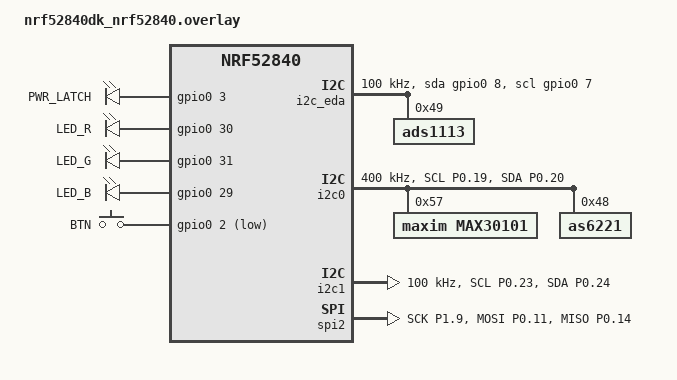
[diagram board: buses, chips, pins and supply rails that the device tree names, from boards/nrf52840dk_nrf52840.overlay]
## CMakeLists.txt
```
cmake_minimum_required(VERSION 3.20.0)

find_package(Zephyr REQUIRED HINTS $ENV{ZEPHYR_BASE})
project(smartwatch_all_sensors)

target_sources(app PRIVATE
  src/main.c
  src/as6221_task.c
  src/lsm6dso_task.c
  src/max30101_task.c
  src/ads1113_task.c
  src/w25n01_task.c
  src/ble_log_service.c
  src/log_backend_ble.c
  src/algo_v0.c         # <-- ADDED
)
```

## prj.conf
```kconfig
# Core
CONFIG_GPIO=y
CONFIG_I2C=y
CONFIG_I2C_GPIO=y
CONFIG_GPIO_NRFX=y
# Logging
CONFIG_LOG=y
CONFIG_LOG_DEFAULT_LEVEL=3
CONFIG_LOG_MODE_DEFERRED=y
CONFIG_LOG_PROCESS_THREAD=y
CONFIG_LOG_PROCESS_THREAD_STACK_SIZE=4096
CONFIG_LOG_BUFFER_SIZE=4096
CONFIG_LOG_OUTPUT=y

# No RTT / no UART console output
CONFIG_USE_SEGGER_RTT=n
CONFIG_LOG_BACKEND_RTT=n
CONFIG_RTT_CONSOLE=n
CONFIG_UART_CONSOLE=n
CONFIG_SERIAL=n
CONFIG_CONSOLE=n

# Float format for LOG_INF("%.2f")
CONFIG_CBPRINTF_COMPLETE=y
CONFIG_CBPRINTF_FP_SUPPORT=y

# BLE
CONFIG_BT=y
CONFIG_BT_PERIPHERAL=y
CONFIG_BT_DEVICE_NAME="SMARTWATCH"
CONFIG_BT_MAX_CONN=1
CONFIG_BT_SMP=n
CONFIG_BT_GATT_DYNAMIC_DB=y

# Reduce BT internal log spam
CONFIG_BT_LOG_LEVEL_ERR=y

# Buffers (safe values)
CONFIG_BT_L2CAP_TX_BUF_COUNT=10
CONFIG_BT_BUF_ACL_TX_COUNT=10
CONFIG_BT_BUF_ACL_RX_COUNT=10
CONFIG_BT_CONN_TX_MAX=10

# ---- ADD THESE (keep your existing as-is) ----
CONFIG_SPI=y
CONFIG_PRINTK=y
CONFIG_LOG_PRINTK=y
# Required because AS6221_ALERT is connected to P0.09 / NFC1 on this PCB
CONFIG_NFCT_PINS_AS_GPIOS=y

# ADC-based BTN detection for PCBv2 soft-latch ON/OFF
CONFIG_ADC=y
CONFIG_ADC_NRFX_SAADC=y

# Button reset gesture uses sys_reboot(SYS_REBOOT_COLD)
CONFIG_REBOOT=y
```

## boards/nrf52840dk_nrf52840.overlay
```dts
/ {
	/* Software I2C for ADS1113 EDA ADC
	 * Schematic wiring:
	 *   ADS1113/I2C1_SCL = P0.07
	 *   ADS1113/I2C1_SDA = P0.08
	 */
	i2c_eda: i2c_eda {
		compatible = "gpio-i2c";
		status = "okay";

		scl-gpios = <&gpio0 7 (GPIO_OPEN_DRAIN | GPIO_PULL_UP)>;
		sda-gpios = <&gpio0 8 (GPIO_OPEN_DRAIN | GPIO_PULL_UP)>;

		clock-frequency = <I2C_BITRATE_STANDARD>;
		#address-cells = <1>;
		#size-cells = <0>;

		ads1113: ads1113@49 {
			reg = <0x49>;
			status = "okay";
		};
	};


	/* Firmware-controlled soft-latch hold signal.
	 * Schematic: PWR = P0.03.
	 * Firmware drives this HIGH immediately after boot to keep Q2/Q1 enabled,
	 * so the board stays powered after the push button is released.
	 * The same signal is later driven LOW for firmware-controlled power-off.
	 */
	power_hold {
		compatible = "gpio-leds";

		pwr_latch: pwr_latch {
			gpios = <&gpio0 3 GPIO_ACTIVE_HIGH>;
			label = "PWR_LATCH";
		};
	};

	/* Indicator LEDs from schematic.
	 * These are not used by the current firmware logic, but are defined here
	 * for future DT-based access.
	 */
	leds {
		compatible = "gpio-leds";

		led_red: led_red {
			gpios = <&gpio0 30 GPIO_ACTIVE_HIGH>;
			label = "LED_R";
		};

		led_green: led_green {
			gpios = <&gpio0 31 GPIO_ACTIVE_HIGH>;
			label = "LED_G";
		};

		led_blue: led_blue {
			gpios = <&gpio0 29 GPIO_ACTIVE_HIGH>;
			label = "LED_B";
		};
	};

	/* ON/OFF push-button signal from schematic. Logic polarity may need
	 * verification on hardware because the button circuit has transistor/diode
	 * logic. The current firmware does not use this node directly.
	 */
	buttons {
		compatible = "gpio-keys";

		watch_button: watch_button {
			gpios = <&gpio0 2 GPIO_ACTIVE_LOW>;
			label = "BTN";
		};
	};

	aliases {
		led0 = &led_red;
		led1 = &led_green;
		led2 = &led_blue;
		sw0 = &watch_button;
		pwr-latch = &pwr_latch;
	};
};

/* UART disabled because firmware uses BLE logging, not UART console. */
&uart0 {
	status = "disabled";
};

/* Keep SPI1 disabled because I2C1 uses hardware instance 1. */
&spi1 {
	status = "disabled";
};

/* I2C0 bus for MAX30101 and AS6221
 * Schematic wiring:
 *   I2C0_SCL = P0.19
 *   I2C0_SDA = P0.20
 */
&i2c0 {
	status = "okay";
	clock-frequency = <I2C_BITRATE_FAST>;
	pinctrl-0 = <&i2c0_default>;
	pinctrl-1 = <&i2c0_sleep>;
	pinctrl-names = "default", "sleep";

	max30101: max30101@57 {
		compatible = "maxim,max30101";
		reg = <0x57>;
		label = "MAX30101";
		status = "okay";
	};

	as6221: as6221@48 {
		reg = <0x48>;
		label = "AS6221";
		status = "okay";
	};
};

/* I2C1 bus for LSM6DSO in I2C mode
 * Schematic wiring:
 *   LSM6DSO_SCL = P0.23
 *   LSM6DSO_SDI/SDA = P0.24
 * Other LSM pins are configured manually in lsm6dso_task.c:
 *   CS = P0.22, SA0/SDO = P0.13, INT1 = P0.28, INT2 = P0.05
 */
&i2c1 {
	status = "okay";
	clock-frequency = <I2C_BITRATE_STANDARD>;
	pinctrl-0 = <&i2c1_default>;
	pinctrl-1 = <&i2c1_sleep>;
	pinctrl-names = "default", "sleep";
};

/* SPI2 bus for W25N01GV NAND flash
 * Schematic wiring:
 *   SCK  = P1.09
 *   MOSI = P0.11
 *   MISO = P0.14
 * Manual GPIOs in w25n01_task.c:
 *   CS   = P0.17
 *   WP   = P0.12
 *   HOLD = P1.08
 */
&spi2 {
	status = "okay";
	pinctrl-0 = <&spi2_default>;
	pinctrl-1 = <&spi2_sleep>;
	pinctrl-names = "default", "sleep";
};

&pinctrl {
	i2c0_default: i2c0_default {
		group1 {
			psels = <
				NRF_PSEL(TWIM_SCL, 0, 19)
				NRF_PSEL(TWIM_SDA, 0, 20)
			>;
		};
	};

	i2c0_sleep: i2c0_sleep {
		group1 {
			psels = <
				NRF_PSEL(TWIM_SCL, 0, 19)
				NRF_PSEL(TWIM_SDA, 0, 20)
			>;
			low-power-enable;
		};
	};

	i2c1_default: i2c1_default {
		group1 {
			psels = <
				NRF_PSEL(TWIM_SCL, 0, 23)
				NRF_PSEL(TWIM_SDA, 0, 24)
			>;
		};
	};

	i2c1_sleep: i2c1_sleep {
		group1 {
			psels = <
				NRF_PSEL(TWIM_SCL, 0, 23)
				NRF_PSEL(TWIM_SDA, 0, 24)
			>;
			low-power-enable;
		};
	};

	spi2_default: spi2_default {
		group1 {
			psels = <
				NRF_PSEL(SPIM_SCK,  1, 9)
				NRF_PSEL(SPIM_MOSI, 0, 11)
				NRF_PSEL(SPIM_MISO, 0, 14)
			>;
		};
	};

	spi2_sleep: spi2_sleep {
		group1 {
			psels = <
				NRF_PSEL(SPIM_SCK,  1, 9)
				NRF_PSEL(SPIM_MOSI, 0, 11)
				NRF_PSEL(SPIM_MISO, 0, 14)
			>;
			low-power-enable;
		};
	};
};
```

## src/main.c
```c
#include <zephyr/kernel.h>
#include <zephyr/logging/log.h>
#include <zephyr/device.h>
#include <zephyr/devicetree.h>
#include <zephyr/drivers/gpio.h>
#include <zephyr/drivers/adc.h>
#include <hal/nrf_saadc.h>
#include <zephyr/sys/util.h>
#include <zephyr/sys/reboot.h>
#include <errno.h>
#include <string.h>
#include <stdbool.h>
#include <stdint.h>
#include <stdio.h>

#include "ble_log_service.h"
#include "as6221_task.h"
#include "lsm6dso_task.h"
#include "max30101_task.h"
#include "ads1113_task.h"
#include "w25n01_task.h"
#include "algo_v0.h"
#include "ppg_validation.h"

extern void w25n01_log_processed_line(const char *line);

LOG_MODULE_REGISTER(main_all, LOG_LEVEL_INF);

/* PCBv2 soft-latch power circuit
 *
 * Schematic mapping:
 *   BTN = P0.02 / AIN0 -> push-button sense line, read by SAADC voltage
 *   PWR = P0.03        -> firmware power-hold/latch output
 *
 * Verified with minimal ADC test FW:
 *   Button released: BTN ~= 0 mV
 *   Button pressed : BTN ~= 1.42-1.46 V battery / 2.2-2.3 V USB-C
 *
 * This main FW now uses ADC threshold/hysteresis instead of raw digital GPIO:
 *   pressed  = BTN voltage >= 800 mV
 *   released = BTN voltage <= 300 mV
 *
 * Behavior:
 *   Hold button 3 sec -> PWR latch stays HIGH -> full FW starts
 *   Hold button again 3 sec, then release -> PWR is forced LOW -> board should turn OFF
 *   Hold button 10 sec, release, then short-press once/twice -> MCU cold reset
 *
 * A BLE command "OFF"/"POWER_OFF"/"SHUTDOWN" is also supported for debugging.
 */
#define POWER_ON_HOLD_TIME_MS              3000
#define POWER_OFF_HOLD_TIME_MS             3000
#define POWER_RESET_HOLD_TIME_MS           10000
#define POWER_RESET_CLICK_WINDOW_MS         2500
#define POWER_RESET_INTER_CLICK_MS           800
#define POWER_RESET_CLICK_MAX_MS             800
#define POWER_RESET_CLICK_MIN_MS              50
#define POWER_SAMPLE_MS                    50
#define POWER_BOOT_SETTLE_MS               50
#define POWER_OFF_GRACE_MS                 250
#define POWER_OFF_WAIT_RELEASE_TIMEOUT_MS  3000

#define BTN_PRESS_THRESHOLD_MV             800
#define BTN_RELEASE_THRESHOLD_MV           300

#define ADC_RESOLUTION                     12
#define ADC_GAIN_USED                      ADC_GAIN_1_6
#define ADC_REFERENCE_USED                 ADC_REF_INTERNAL
#define ADC_REF_INTERNAL_MV                600
#define ADC_GAIN_DENOMINATOR               6
#define ADC_FULL_SCALE_MV                  (ADC_REF_INTERNAL_MV * ADC_GAIN_DENOMINATOR)
#define ADC_CHANNEL_ID                     0

#ifndef NRF_SAADC_INPUT_AIN0
#define NRF_SAADC_INPUT_AIN0 SAADC_CH_PSELP_PSELP_AnalogInput0
#endif

static const struct gpio_dt_spec pwr_latch = GPIO_DT_SPEC_GET(DT_NODELABEL(pwr_latch), gpios);
static const struct device *const adc_dev = DEVICE_DT_GET(DT_NODELABEL(adc));

static const struct adc_channel_cfg btn_adc_cfg = {
    .gain = ADC_GAIN_USED,
    .reference = ADC_REFERENCE_USED,
    .acquisition_time = ADC_ACQ_TIME_DEFAULT,
    .channel_id = ADC_CHANNEL_ID,
#if defined(CONFIG_ADC_CONFIGURABLE_INPUTS)
    .input_positive = NRF_SAADC_INPUT_AIN0,
#endif
};

static volatile bool g_shutdown_requested_by_ble;

struct button_reading {
    int mv;
    bool pressed;
};

static bool g_button_state_pressed;
static bool g_button_state_valid;

static void pwr_drive_high(void)
{
    if (gpio_is_ready_dt(&pwr_latch)) {
        (void)gpio_pin_configure_dt(&pwr_latch, GPIO_OUTPUT_ACTIVE);
        (void)gpio_pin_set_dt(&pwr_latch, 1);
    }
}

static void pwr_drive_low(void)
{
    if (gpio_is_ready_dt(&pwr_latch)) {
        (void)gpio_pin_configure_dt(&pwr_latch, GPIO_OUTPUT_INACTIVE);
        (void)gpio_pin_set_dt(&pwr_latch, 0);
    }
}

static void power_latch_force_low_forever(void)
{
    /* If battery-only hardware latch is correct, the board will switch off.
     * If USB-C/external power is present or Q1 is bypassed/shorted, stay here
     * with PWR forced LOW so the application does not continue running.
     */
    while (1) {
        pwr_drive_low();
        k_msleep(10);
    }
}

static void power_latch_off_forever(void)
{
    pwr_drive_low();
    power_latch_force_low_forever();
}

static void send_ble_line(const char *line)
{
    if (line) {
        (void)ble_log_send_as((const uint8_t *)line, strlen(line));
    }
}

static int btn_adc_init(void)
{
    if (!device_is_ready(adc_dev)) {
        LOG_ERR("ADC device is not ready");
        return -ENODEV;
    }

    return adc_channel_setup(adc_dev, &btn_adc_cfg);
}

static int btn_read_mv(void)
{
    int16_t sample = 0;
    struct adc_sequence seq = {
        .channels = BIT(ADC_CHANNEL_ID),
        .buffer = &sample,
        .buffer_size = sizeof(sample),
        .resolution = ADC_RESOLUTION,
    };

    int err = adc_read(adc_dev, &seq);
    if (err) {
        return err;
    }

    /* Manual conversion for nRF SAADC with internal 0.6 V reference and gain 1/6:
     * full scale input range = 0.6 V * 6 = 3.6 V.
     * 12-bit ADC raw range = 0..4095.
     */
    int32_t mv = ((int32_t)sample * ADC_FULL_SCALE_MV) / ((1 << ADC_RESOLUTION) - 1);

    if (mv < 0) {
        mv = 0;
    }

    return (int)mv;
}

static struct button_reading button_read_adc(void)
{
    struct button_reading b = {
        .mv = btn_read_mv(),
        .pressed = false,
    };

    if (b.mv < 0) {
        /* Keep previous state on a single ADC read error so one bad sample does
         * not randomly cancel a long press or trigger release.
         */
        b.pressed = g_button_state_pressed;
        return b;
    }

    if (!g_button_state_valid) {
        g_button_state_pressed = (b.mv >= BTN_PRESS_THRESHOLD_MV);
        g_button_state_valid = true;
    } else if (!g_button_state_pressed && b.mv >= BTN_PRESS_THRESHOLD_MV) {
        g_button_state_pressed = true;
    } else if (g_button_state_pressed && b.mv <= BTN_RELEASE_THRESHOLD_MV) {
        g_button_state_pressed = false;
    }

    b.pressed = g_button_state_pressed;
    return b;
}

static void wait_for_button_release_after_off(void)
{
    int waited_ms = 0;

    LOG_INF("OFF accepted: PWR is LOW. Waiting for physical button release.");
    send_ble_line("POWER:OFF:PWR_LOW_WAIT_RELEASE\r\n");

    while (1) {
        pwr_drive_low();

        struct button_reading b = button_read_adc();
        if (b.mv < 0) {
            LOG_WRN("BTN ADC read failed while waiting release (%d)", b.mv);
        } else if (!b.pressed) {
            LOG_INF("Button released after OFF request; keeping PWR LOW now.");
            send_ble_line("POWER:OFF:BUTTON_RELEASED_KEEPING_PWR_LOW\r\n");
            break;
        }

        if ((waited_ms % 1000) == 0) {
            char msg[112];
            LOG_INF("Waiting release after OFF: waited_ms=%d BTN=%dmV pressed=%d",
                    waited_ms, b.mv, b.pressed ? 1 : 0);
            snprintk(msg, sizeof(msg),
                     "POWER:OFF:WAIT_RELEASE:%dms BTN=%dmV\r\n",
                     waited_ms, b.mv);
            send_ble_line(msg);
        }

        /* Do not wait forever. If the user holds slightly longer or the battery
         * latch keeps BTN high, still force PWR LOW and stop the application.
         */
        if (waited_ms >= POWER_OFF_WAIT_RELEASE_TIMEOUT_MS) {
            char msg[128];
            LOG_WRN("Release wait timeout. Forcing PWR LOW forever. BTN=%dmV", b.mv);
            snprintk(msg, sizeof(msg),
                     "POWER:OFF:RELEASE_TIMEOUT_FORCE_LOW BTN=%dmV\r\n",
                     b.mv);
            send_ble_line(msg);
            break;
        }

        k_msleep(POWER_SAMPLE_MS);
        waited_ms += POWER_SAMPLE_MS;
    }

    k_msleep(100);
}

static void power_latch_shutdown_now(const char *reason)
{
    char msg[96];

    LOG_INF("Power-off requested: %s", reason ? reason : "unknown");

    if (reason && strcmp(reason, "BLE") == 0) {
        send_ble_line("POWER:OFF:BLE_COMMAND_ACCEPTED\r\n");
    } else {
        snprintk(msg, sizeof(msg), "POWER:OFF:ACCEPTED:%s\r\n",
                 reason ? reason : "BUTTON_ADC_3SEC");
        send_ble_line(msg);
    }

    /* Last optional memory-status snapshot before dropping the latch. */
#if !(PPG_VALIDATION_MODE && PPG_VAL_DISABLE_NAND)
    w25n01_log_mem_snapshot();
#endif
    k_msleep(POWER_OFF_GRACE_MS);

    /* Critical: drive PWR LOW before waiting for release. While the button is
     * still physically held, the button path may still keep Q2/Q1 alive. When
     * the user releases the button, PWR is already LOW, so the latch should open.
     */
    pwr_drive_low();
    wait_for_button_release_after_off();
    power_latch_force_low_forever();
}

static int power_latch_startup_check(void)
{
    if (!gpio_is_ready_dt(&pwr_latch)) {
        LOG_ERR("PWR latch GPIO device is not ready");
        return -ENODEV;
    }

    /* Configure ADC after immediately holding the latch alive. */
    pwr_drive_high();
    k_msleep(POWER_BOOT_SETTLE_MS);

    int err = btn_adc_init();
    if (err) {
        LOG_ERR("Failed to initialize BTN ADC (%d)", err);
        return err;
    }

    LOG_INF("Power latch HIGH. Require BTN >= %dmV for %d ms to start.",
            BTN_PRESS_THRESHOLD_MV, POWER_ON_HOLD_TIME_MS);

    int elapsed_ms = 0;
    while (elapsed_ms < POWER_ON_HOLD_TIME_MS) {
        pwr_drive_high();

        struct button_reading b = button_read_adc();
        if (b.mv < 0) {
            LOG_ERR("Failed to read BTN ADC during startup (%d)", b.mv);
            return b.mv;
        }

        if (!b.pressed) {
            LOG_WRN("Startup button released early. elapsed_ms=%d BTN=%dmV. Powering off.",
                    elapsed_ms, b.mv);
            power_latch_off_forever();
        }

        k_msleep(POWER_SAMPLE_MS);
        elapsed_ms += POWER_SAMPLE_MS;
    }

    pwr_drive_high();
    LOG_INF("3-sec ON accepted. PWR latch remains HIGH. Starting full firmware.");
    return 0;
}

static char ascii_upper_char(char c)
{
    if (c >= 'a' && c <= 'z') {
        return (char)(c - 'a' + 'A');
    }
    return c;
}

static bool cmd_equals_ci(const char *a, const char *b)
{
    if (!a || !b) {
        return false;
    }

    while (*a && *b) {
        if (ascii_upper_char(*a) != ascii_upper_char(*b)) {
            return false;
        }
        a++;
        b++;
    }

    return (*a == '\0' && *b == '\0');
}

static void app_ble_command_cb(const char *cmd)
{
    if (!cmd) {
        return;
    }

    if (cmd_equals_ci(cmd, "OFF") ||
        cmd_equals_ci(cmd, "POWER_OFF") ||
        cmd_equals_ci(cmd, "SHUTDOWN")) {
        g_shutdown_requested_by_ble = true;
        send_ble_line("CMD:OFF:ACCEPTED\r\n");
        return;
    }

    if (cmd_equals_ci(cmd, "PING") || cmd_equals_ci(cmd, "STATUS")) {
        struct button_reading b = button_read_adc();
        char msg[128];
        snprintk(msg, sizeof(msg),
                 "POWER:STATUS BTN=%dmV STATE=%s TH_PRESS=%dmV TH_RELEASE=%dmV\r\n",
                 b.mv, b.pressed ? "PRESSED" : "RELEASED",
                 BTN_PRESS_THRESHOLD_MV, BTN_RELEASE_THRESHOLD_MV);
        send_ble_line(msg);
        return;
    }

    /* Keep existing MAX30101 GUI commands working. */
    max30101_handle_ble_command(cmd);
}


static void reboot_device_now(const char *reason)
{
    char msg[96];

    snprintk(msg, sizeof(msg), "POWER:RESET:REBOOT_NOW:%s\r\n",
             reason ? reason : "BUTTON_10SEC_CLICK");
    send_ble_line(msg);
    LOG_WRN("Rebooting device now: %s", reason ? reason : "BUTTON_10SEC_CLICK");

    k_msleep(300);
    sys_reboot(SYS_REBOOT_COLD);
}

static bool wait_for_reset_confirmation_after_long_hold(void)
{
    int waited_ms = 0;
    int clicks = 0;
    int first_click_wait_ms = 0;
    bool prev_pressed = true;
    bool click_press_active = false;
    int click_press_ms = 0;

    send_ble_line("POWER:RESET:LONG_HOLD_10SEC_DETECTED_RELEASE_BUTTON\r\n");
    LOG_WRN("10-sec reset hold detected. Waiting for release, then one/two short clicks.");

    /* First wait until the long hold is released. */
    while (1) {
        pwr_drive_high();

        struct button_reading b = button_read_adc();
        if (b.mv >= 0 && !b.pressed) {
            send_ble_line("POWER:RESET:LONG_HOLD_RELEASED_WAIT_CLICK\r\n");
            break;
        }

        if ((waited_ms % 1000) == 0) {
            char msg[96];
            snprintk(msg, sizeof(msg),
                     "POWER:RESET:WAIT_RELEASE:%dms BTN=%dmV\r\n",
                     waited_ms, b.mv);
            send_ble_line(msg);
        }

        k_msleep(POWER_SAMPLE_MS);
        waited_ms += POWER_SAMPLE_MS;
    }

    waited_ms = 0;
    prev_pressed = false;

    /* Now wait for one or two short confirmation presses. One valid click is
     * enough; a second click within POWER_RESET_INTER_CLICK_MS is also accepted.
     */
    while (waited_ms <= POWER_RESET_CLICK_WINDOW_MS) {
        pwr_drive_high();

        struct button_reading b = button_read_adc();
        if (b.mv < 0) {
            k_msleep(POWER_SAMPLE_MS);
            waited_ms += POWER_SAMPLE_MS;
            continue;
        }

        if (b.pressed && !prev_pressed) {
            click_press_active = true;
            click_press_ms = 0;
            send_ble_line("POWER:RESET:CONFIRM_PRESS_STARTED\r\n");
        }

        if (b.pressed && click_press_active) {
            click_press_ms += POWER_SAMPLE_MS;
            if (click_press_ms > POWER_RESET_CLICK_MAX_MS) {
                send_ble_line("POWER:RESET:CANCELLED_CONFIRM_PRESS_TOO_LONG\r\n");
                return false;
            }
        }

        if (!b.pressed && prev_pressed && click_press_active) {
            if (click_press_ms >= POWER_RESET_CLICK_MIN_MS &&
                click_press_ms <= POWER_RESET_CLICK_MAX_MS) {
                clicks++;
                char msg[96];
                snprintk(msg, sizeof(msg),
                         "POWER:RESET:CONFIRM_CLICK_%d\r\n", clicks);
                send_ble_line(msg);

                if (clicks >= 2) {
                    reboot_device_now("BUTTON_10SEC_DOUBLE_CLICK");
                }

                first_click_wait_ms = 0;
            }

            click_press_active = false;
            click_press_ms = 0;
        }

        if (clicks == 1) {
            first_click_wait_ms += POWER_SAMPLE_MS;
            if (first_click_wait_ms >= POWER_RESET_INTER_CLICK_MS) {
                reboot_device_now("BUTTON_10SEC_SINGLE_CLICK");
            }
        }

        prev_pressed = b.pressed;
        k_msleep(POWER_SAMPLE_MS);
        waited_ms += POWER_SAMPLE_MS;
    }

    send_ble_line("POWER:RESET:CANCELLED_NO_CONFIRM_CLICK\r\n");
    LOG_INF("10-sec reset gesture cancelled: no confirmation click.");
    return false;
}

static void power_latch_runtime_monitor_loop(void)
{
    bool off_armed = false;
    int held_ms = 0;
    int last_reported_sec = -1;
    int status_ms = 0;

    LOG_INF("Runtime ADC button monitor started. Waiting for release to arm OFF long press.");
    send_ble_line("POWER:INFO MAIN_FW_ADC_BTN_PRESS_800mV_RELEASE_300mV\r\n");

    while (1) {
        pwr_drive_high();

        if (g_shutdown_requested_by_ble) {
            g_shutdown_requested_by_ble = false;
            power_latch_shutdown_now("BLE");
        }

        struct button_reading b = button_read_adc();
        if (b.mv < 0) {
            LOG_WRN("Failed to read BTN ADC in runtime monitor (%d)", b.mv);
            k_msleep(POWER_SAMPLE_MS);
            continue;
        }

        if (status_ms >= 1000) {
#if !(PPG_VALIDATION_MODE && PPG_VAL_DISABLE_DEBUG_LOGS)
            char msg[128];
            snprintk(msg, sizeof(msg),
                     "POWER:STATUS BTN=%dmV STATE=%s OFF_ARMED=%d HOLD=%dms\r\n",
                     b.mv, b.pressed ? "PRESSED" : "RELEASED",
                     off_armed ? 1 : 0, held_ms);
            send_ble_line(msg);
#endif
            status_ms = 0;
        }

        /* After boot, require one release before accepting an OFF long press. */
        if (!off_armed) {
            if (!b.pressed) {
                off_armed = true;
                held_ms = 0;
                last_reported_sec = -1;
                LOG_INF("Startup button released. OFF long press is now armed.");
                send_ble_line("POWER:OFF_ARMED\r\n");
            }
            k_msleep(POWER_SAMPLE_MS);
            status_ms += POWER_SAMPLE_MS;
            continue;
        }

        if (b.pressed) {
            held_ms += POWER_SAMPLE_MS;
            int sec = held_ms / 1000;

            if (held_ms == POWER_SAMPLE_MS) {
                LOG_INF("Button hold started. Release after 3 sec for OFF, or hold 10 sec for RESET gesture.");
                send_ble_line("POWER:BUTTON_HOLD_STARTED\r\n");
            }

            if (sec != last_reported_sec && sec > 0) {
                char msg[112];
                last_reported_sec = sec;
                snprintk(msg, sizeof(msg),
                         "POWER:BUTTON_HOLD:%dms BTN=%dmV\r\n",
                         held_ms, b.mv);
                send_ble_line(msg);

                if (held_ms >= POWER_OFF_HOLD_TIME_MS &&
                    held_ms < POWER_RESET_HOLD_TIME_MS) {
                    send_ble_line("POWER:OFF_READY_RELEASE_TO_POWER_OFF_OR_KEEP_HOLDING_FOR_RESET\r\n");
                }
            }

            if (held_ms >= POWER_RESET_HOLD_TIME_MS) {
                bool reset_started = wait_for_reset_confirmation_after_long_hold();
                ARG_UNUSED(reset_started);
                held_ms = 0;
                last_reported_sec = -1;
                status_ms = 1000;
            }
        } else {
            if (held_ms >= POWER_OFF_HOLD_TIME_MS && held_ms < POWER_RESET_HOLD_TIME_MS) {
                power_latch_shutdown_now("BUTTON_ADC_3SEC_RELEASE");
            } else if (held_ms > 0) {
                LOG_INF("Button hold cancelled at %d ms.", held_ms);
                send_ble_line("POWER:BUTTON_HOLD_CANCELLED\r\n");
            }
            held_ms = 0;
            last_reported_sec = -1;
        }

        k_msleep(POWER_SAMPLE_MS);
        status_ms += POWER_SAMPLE_MS;
    }
}

int main(void)
{
    int err = power_latch_startup_check();
    if (err) {
        LOG_ERR("power_latch_startup_check failed (%d). Powering off.", err);
        power_latch_off_forever();
    }

    err = ble_log_service_init();
    if (err) {
        LOG_ERR("ble_log_service_init failed (%d)", err);
    }

    ble_log_service_set_command_callback(app_ble_command_cb);

    k_msleep(500);

#if PPG_VALIDATION_MODE
    /* Focused PPG validation path: keep BLE, MAX30101 green PPG, IMU, and algo.
     * Skip NAND/EDA/TEMP task startup to keep the BLE stream clean and reduce
     * extra load while validating the PPG waveform and peak detection.
     */
    lsm6dso_task_start();
    max30101_task_start();

    LOG_INF("PPG validation mode: MAX30101 GREEN + LSM6DSO IMU + Algo V0 only.");
#else
    w25n01_task_start();
    as6221_task_start();
    lsm6dso_task_start();
    max30101_task_start();
    ads1113_task_start();

    algo_v0_set_minute_callback(w25n01_log_processed_line);

    LOG_INF("Storage + sensor tasks started, waiting before Algo V0 start...");
#endif

    for (int i = 0; i < 80; i++) {
        if (lsm6dso_task_has_data()) {
            LOG_INF("LSM6DSO is producing samples; starting Algo V0.");
            break;
        }
        k_msleep(100);
    }

    if (!lsm6dso_task_has_data()) {
        LOG_WRN("LSM6DSO not ready after warm-up; starting Algo V0 anyway.");
    }

    algo_v0_init();
    algo_v0_start();

    LOG_INF("Algo V0 started after sensor warm-up.");

    power_latch_runtime_monitor_loop();

    return 0;
}
```

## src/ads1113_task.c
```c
#include <zephyr/kernel.h>
#include <zephyr/device.h>
#include <zephyr/drivers/i2c.h>
#include <zephyr/logging/log.h>
#include <stdint.h>
#include <math.h>

#include "algo_v0.h"
#include "w25n01_task.h"

LOG_MODULE_REGISTER(eda_raw, LOG_LEVEL_INF);

/* Use software I2C bus on P0.07/P0.08 */
#define I2C_NODE            DT_NODELABEL(i2c_eda)
#define ADS1113_ADDR        0x49

#define REG_CONV            0x00
#define REG_CONFIG          0x01

#define FS_HZ               4
#define SAMPLE_MS           (1000 / FS_HZ)

/* Adjust these to match your actual analog front end.
 * The Algo V0 core expects EDA in µS, so we convert here before handing data off.
 */
#define EDA_ZERO_OFFSET_MV  0.0f
#define EDA_US_PER_MV       0.02f
#define EDA_USE_ABS_INPUT   1

#define FLAT_DELTA_RAW_TH   1
#define FLAT_TIME_SEC       5
#define FLAT_N_SAMPLES      (FS_HZ * FLAT_TIME_SEC)

static int ads_set_continuous(const struct device *i2c)
{
    uint8_t cfg[3] = { REG_CONFIG, 0xC2, 0x83 };
    return i2c_write(i2c, cfg, sizeof(cfg), ADS1113_ADDR);
}

static int ads_read_raw(const struct device *i2c, int16_t *raw)
{
    uint8_t reg = REG_CONV;
    uint8_t buf[2];

    int ret = i2c_write_read(i2c, ADS1113_ADDR, &reg, 1, buf, 2);
    if (ret) {
        return ret;
    }

    *raw = (int16_t)((buf[0] << 8) | buf[1]);
    return 0;
}

static int32_t raw_to_mV(int16_t raw)
{
    int32_t uv = (int32_t)raw * 125;
    return uv / 1000;
}

static float mv_to_algo_uS(float mv)
{
    float x = mv - EDA_ZERO_OFFSET_MV;
#if EDA_USE_ABS_INPUT
    x = fabsf(x);
#endif
    return x * EDA_US_PER_MV;
}

static void ads1113_thread(void *a, void *b, void *c)
{
    ARG_UNUSED(a);
    ARG_UNUSED(b);
    ARG_UNUSED(c);

    const struct device *i2c = DEVICE_DT_GET(I2C_NODE);
    if (!device_is_ready(i2c)) {
        LOG_ERR("I2C not ready");
        return;
    }

    LOG_INF("=== EDA RAW STREAM TEST (ADS1113, %d Hz) ===", FS_HZ);
    LOG_INF("EDA calibration: offset=%.3f mV scale=%.3f uS/mV abs=%d",
        (double)EDA_ZERO_OFFSET_MV, (double)EDA_US_PER_MV, EDA_USE_ABS_INPUT);

    algo_v0_set_eda_mv_to_uS(1.0f);

    int ret = ads_set_continuous(i2c);
    if (ret) {
        LOG_ERR("ADS config write failed (%d)", ret);
        return;
    }
    LOG_INF("ADS set to continuous mode");

    int16_t prev_raw = 0;
    bool have_prev = false;
    int flat_cnt = 0;

    int64_t t0 = k_uptime_get();

    while (1) {
        int16_t raw = 0;
        ret = ads_read_raw(i2c, &raw);
        if (ret) {
            LOG_ERR("ADS read failed (%d)", ret);
            k_sleep(K_MSEC(SAMPLE_MS));
            continue;
        }

        int64_t now_ms = k_uptime_get();
        float mv = (float)raw_to_mV(raw);
        float uS = mv_to_algo_uS(mv);

        algo_v0_push_eda_mv(uS, now_ms);
        w25n01_log_raw_eda(raw, (int32_t)mv, now_ms);

        int16_t d = 0;
        if (have_prev) {
            d = raw - prev_raw;
        } else {
            have_prev = true;
        }

        if (have_prev && (d <= FLAT_DELTA_RAW_TH && d >= -FLAT_DELTA_RAW_TH)) {
            flat_cnt++;
        } else {
            flat_cnt = 0;
        }

        int64_t t_ms = now_ms - t0;

        LOG_INF("t=%lldms raw=%d mv=%.3f uS=%.3f dRaw=%d flat_cnt=%d%s",
            t_ms,
            raw,
            (double)mv,
            (double)uS,
            d,
            flat_cnt,
            (flat_cnt >= FLAT_N_SAMPLES) ? " FLATLINE" : "");

        prev_raw = raw;
        k_sleep(K_MSEC(SAMPLE_MS));
    }
}

#define ADS1113_STACK_SIZE 2048
#define ADS1113_PRIORITY   5

K_THREAD_STACK_DEFINE(ads1113_stack, ADS1113_STACK_SIZE);
static struct k_thread ads1113_tcb;
static bool started;

void ads1113_task_start(void)
{
    if (started) {
        return;
    }
    started = true;

    k_thread_create(&ads1113_tcb, ads1113_stack, K_THREAD_STACK_SIZEOF(ads1113_stack),
            ads1113_thread, NULL, NULL, NULL,
            ADS1113_PRIORITY, 0, K_NO_WAIT);

    k_thread_name_set(&ads1113_tcb, "ads1113_task");
}
```

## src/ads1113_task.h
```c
#pragma once

void ads1113_task_start(void);
```

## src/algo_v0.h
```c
#pragma once

#include <stdint.h>
#include <stdbool.h>

#ifdef __cplusplus
extern "C" {
#endif

/* =========================
 *  Algo V0 public API
 *  - Call algo_v0_init() once (main)
 *  - Call algo_v0_start() once (main)
 *  - In each sensor task, push new samples using the functions below
 * ========================= */

void algo_v0_init(void);
void algo_v0_start(void);

/* --- Temperature (AS6221) --- */
void algo_v0_push_temp_c(float temp_c, int64_t t_ms);

/* --- IMU (LSM6DSO) --- */
/* Units expected:
 *   accel in g (not mg), gyro in dps (not mdps)
 * If your task outputs mg/mdps, convert before pushing.
 */
void algo_v0_push_imu(float ax_g, float ay_g, float az_g,
                      float gx_dps, float gy_dps, float gz_dps,
                      int64_t t_ms);

/* --- PPG (MAX30101/2) --- */
void algo_v0_push_ppg(uint32_t red, uint32_t ir, uint32_t green, int64_t t_ms);

/* --- EDA (ADS1113) --- */
void algo_v0_push_eda_mv(float eda_mv, int64_t t_ms);

/* Optional: allow runtime calibration for EDA conversion (mV -> µS) */
void algo_v0_set_eda_mv_to_uS(float scale);

/* Optional: if you ever want to publish algo output via a callback */
typedef void (*algo_v0_minute_cb_t)(const char *line);
void algo_v0_set_minute_callback(algo_v0_minute_cb_t cb);

#ifdef __cplusplus
}
#endif
```

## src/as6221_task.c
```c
#include <zephyr/kernel.h>
#include <zephyr/device.h>
#include <zephyr/drivers/i2c.h>
#include <zephyr/logging/log.h>
#include <stdint.h>
#include <stdbool.h>

#include "algo_v0.h"
#include "w25n01_task.h"
#include "as6221_task.h"

LOG_MODULE_REGISTER(as6221_demo, LOG_LEVEL_INF);

#define AS6221_ADDR         0x48
#define REG_TEMP_MSB        0x00

/* Algo V0 document expects 4 Hz temperature input */
#define TEMP_SAMPLE_MS      250
#define TEMP_LOG_EVERY_N    4

static const struct device *i2c_dev;

static K_MUTEX_DEFINE(g_temp_lock);
static float g_last_temp_c;
static int64_t g_last_temp_t_ms = -1;

static float as6221_read_temp(void)
{
    uint8_t data[2];
    int ret = i2c_burst_read(i2c_dev, AS6221_ADDR, REG_TEMP_MSB, data, 2);

    if (ret < 0) {
        LOG_ERR("I2C read failed (%d)", ret);
        return -1000.0f;
    }

    uint16_t raw = ((uint16_t)data[0] << 8) | data[1];
    float temperature = raw / 100.0f;

    return temperature;
}

static void as6221_publish_temp(float temp_c, int64_t t_ms)
{
    k_mutex_lock(&g_temp_lock, K_FOREVER);
    g_last_temp_c = temp_c;
    g_last_temp_t_ms = t_ms;
    k_mutex_unlock(&g_temp_lock);
}

bool as6221_get_latest_temp_c(float *temp_c_out, int64_t *age_ms_out)
{
    float temp_c;
    int64_t t_ms;
    int64_t now_ms = k_uptime_get();

    k_mutex_lock(&g_temp_lock, K_FOREVER);
    temp_c = g_last_temp_c;
    t_ms = g_last_temp_t_ms;
    k_mutex_unlock(&g_temp_lock);

    if (t_ms < 0) {
        return false;
    }

    if (temp_c_out) {
        *temp_c_out = temp_c;
    }
    if (age_ms_out) {
        *age_ms_out = now_ms - t_ms;
    }
    return true;
}

static void as6221_thread(void *a, void *b, void *c)
{
    ARG_UNUSED(a);
    ARG_UNUSED(b);
    ARG_UNUSED(c);

    LOG_INF("=== AS6221 CUSTOM I2C DEMO START ===");

    i2c_dev = DEVICE_DT_GET(DT_NODELABEL(i2c0));
    if (!device_is_ready(i2c_dev)) {
        LOG_ERR("I2C0 not ready!");
        return;
    }

    LOG_INF("I2C0 ready, addr=0x48");

    uint32_t sample_count = 0;

    while (1) {
        int64_t now_ms = k_uptime_get();
        float temperature = as6221_read_temp();

        if (temperature > -999.0f) {
            as6221_publish_temp(temperature, now_ms);
            algo_v0_push_temp_c(temperature, now_ms);
            w25n01_log_raw_temp_centi((int32_t)(temperature * 100.0f), now_ms);

            if ((sample_count % TEMP_LOG_EVERY_N) == 0U) {
                LOG_INF("[AS6221] t=%.2f C | uptime=%lld ms",
                    (double)temperature, now_ms);
            }
            sample_count++;
        }

        k_msleep(TEMP_SAMPLE_MS);
    }
}

/* thread objects */
#define AS6221_STACK_SIZE 2048
#define AS6221_PRIORITY   5

K_THREAD_STACK_DEFINE(as6221_stack, AS6221_STACK_SIZE);
static struct k_thread as6221_tcb;
static bool started;

void as6221_task_start(void)
{
    if (started) {
        return;
    }
    started = true;

    k_thread_create(&as6221_tcb, as6221_stack, K_THREAD_STACK_SIZEOF(as6221_stack),
            as6221_thread, NULL, NULL, NULL,
            AS6221_PRIORITY, 0, K_NO_WAIT);

    k_thread_name_set(&as6221_tcb, "as6221_task");
}
```

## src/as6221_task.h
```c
#ifndef AS6221_TASK_H_
#define AS6221_TASK_H_

#include <stdbool.h>
#include <stdint.h>

void as6221_task_start(void);

/* Returns the most recent AS6221 temperature sample and its age. */
bool as6221_get_latest_temp_c(float *temp_c_out, int64_t *age_ms_out);

#endif /* AS6221_TASK_H_ */
```

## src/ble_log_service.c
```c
#include <zephyr/kernel.h>
#include <string.h>
#include <zephyr/sys/util.h>
#include <zephyr/bluetooth/bluetooth.h>
#include <zephyr/bluetooth/conn.h>
#include <zephyr/bluetooth/gatt.h>

#include "ble_log_service.h"

/* 128-bit UUIDs */
#define BT_UUID_LOG_SERVICE_VAL    BT_UUID_128_ENCODE(0x9f7b0000, 0x6c35, 0x4d2c, 0x9c85, 0x4a8c1a2b3c4d)
#define BT_UUID_LOG_STREAM_VAL     BT_UUID_128_ENCODE(0x9f7b0001, 0x6c35, 0x4d2c, 0x9c85, 0x4a8c1a2b3c4d)
#define BT_UUID_LOG_COMMAND_VAL    BT_UUID_128_ENCODE(0x9f7b0002, 0x6c35, 0x4d2c, 0x9c85, 0x4a8c1a2b3c4d)

static struct bt_uuid_128 log_svc_uuid = BT_UUID_INIT_128(BT_UUID_LOG_SERVICE_VAL);
static struct bt_uuid_128 log_chr_uuid = BT_UUID_INIT_128(BT_UUID_LOG_STREAM_VAL);
static struct bt_uuid_128 cmd_chr_uuid = BT_UUID_INIT_128(BT_UUID_LOG_COMMAND_VAL);

static struct bt_conn *g_conn;
static volatile bool g_notify_enabled;
static ble_log_cmd_cb_t g_cmd_cb;
K_MUTEX_DEFINE(g_tx_mutex);

static uint8_t g_last[512];
static size_t  g_last_len;

static ssize_t log_read(struct bt_conn *conn,
                        const struct bt_gatt_attr *attr,
                        void *buf, uint16_t len, uint16_t offset)
{
    (void)attr;
    return bt_gatt_attr_read(conn, attr, buf, len, offset, g_last, g_last_len);
}

static ssize_t cmd_write(struct bt_conn *conn,
                         const struct bt_gatt_attr *attr,
                         const void *buf, uint16_t len,
                         uint16_t offset, uint8_t flags)
{
    ARG_UNUSED(conn);
    ARG_UNUSED(attr);
    ARG_UNUSED(flags);

    if (offset != 0U) {
        return BT_GATT_ERR(BT_ATT_ERR_INVALID_OFFSET);
    }

    char cmd[96];
    size_t n = MIN((size_t)len, sizeof(cmd) - 1U);
    memcpy(cmd, buf, n);
    cmd[n] = '\0';

    /* Remove trailing CR/LF from app/GUI commands. */
    while (n > 0U && (cmd[n - 1U] == '\r' || cmd[n - 1U] == '\n' || cmd[n - 1U] == ' ')) {
        cmd[n - 1U] = '\0';
        n--;
    }

    if (g_cmd_cb) {
        g_cmd_cb(cmd);
    }

    return len;
}

static void ccc_cfg_changed(const struct bt_gatt_attr *attr, uint16_t value)
{
    ARG_UNUSED(attr);
    g_notify_enabled = (value == BT_GATT_CCC_NOTIFY);
}

/* attrs index:
 * 0 = primary service
 * 1 = stream chr declaration
 * 2 = stream chr value (notify/read this)
 * 3 = stream ccc
 * 4 = command chr declaration
 * 5 = command chr value (write this)
 */
BT_GATT_SERVICE_DEFINE(log_svc,
    BT_GATT_PRIMARY_SERVICE(&log_svc_uuid),
    BT_GATT_CHARACTERISTIC(&log_chr_uuid.uuid,
                           BT_GATT_CHRC_NOTIFY | BT_GATT_CHRC_READ,
                           BT_GATT_PERM_READ,
                           log_read, NULL, NULL),
    BT_GATT_CCC(ccc_cfg_changed, BT_GATT_PERM_READ | BT_GATT_PERM_WRITE),
    BT_GATT_CHARACTERISTIC(&cmd_chr_uuid.uuid,
                           BT_GATT_CHRC_WRITE | BT_GATT_CHRC_WRITE_WITHOUT_RESP,
                           BT_GATT_PERM_WRITE,
                           NULL, cmd_write, NULL)
);

static void connected(struct bt_conn *conn, uint8_t err)
{
    if (err) {
        return;
    }

    if (g_conn) {
        bt_conn_unref(g_conn);
        g_conn = NULL;
    }
    g_conn = bt_conn_ref(conn);
}

static void disconnected(struct bt_conn *conn, uint8_t reason)
{
    ARG_UNUSED(conn);
    ARG_UNUSED(reason);

    if (g_conn) {
        bt_conn_unref(g_conn);
        g_conn = NULL;
    }
    g_notify_enabled = false;
}

BT_CONN_CB_DEFINE(conn_cb) = {
    .connected = connected,
    .disconnected = disconnected,
};

int ble_log_service_init(void)
{
    int err = bt_enable(NULL);
    if (err) {
        return err;
    }

    return bt_le_adv_start(BT_LE_ADV_CONN_NAME, NULL, 0, NULL, 0);
}

void ble_log_service_set_command_callback(ble_log_cmd_cb_t cb)
{
    g_cmd_cb = cb;
}

int ble_log_send_as(const uint8_t *data, size_t len)
{
    if (!data || len == 0U) {
        return 0;
    }

    struct bt_conn *conn = g_conn;
    if (!conn || !g_notify_enabled) {
        return 0;
    }

    k_mutex_lock(&g_tx_mutex, K_FOREVER);

    uint16_t mtu = bt_gatt_get_mtu(conn);
    uint16_t max_payload = (mtu > 3U) ? (mtu - 3U) : 20U;

    g_last_len = MIN(len, sizeof(g_last));
    memcpy(g_last, data, g_last_len);

    size_t off = 0U;
    int rc = (int)len;

    while (off < len) {
        uint16_t chunk = (uint16_t)MIN((size_t)max_payload, len - off);
        int tries = 0;
        int err;

        do {
            err = bt_gatt_notify(conn, &log_svc.attrs[2], data + off, chunk);
            if (err == -ENOMEM) {
                k_msleep(5);
            }
            tries++;
        } while (err == -ENOMEM && tries < 20);

        if (err) {
            rc = err;
            break;
        }

        off += chunk;
        k_yield();
    }

    k_mutex_unlock(&g_tx_mutex);
    return rc;
}

bool ble_log_is_ready(void)
{
    return (g_conn != NULL) && g_notify_enabled;
}
```

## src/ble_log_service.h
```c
#pragma once
#include <stddef.h>
#include <stdint.h>
#include <stdbool.h>

#ifdef __cplusplus
extern "C" {
#endif

int ble_log_service_init(void);

/* Optional app/GUI command callback.
 * Commands are received through the writable BLE command characteristic.
 */
typedef void (*ble_log_cmd_cb_t)(const char *cmd);
void ble_log_service_set_command_callback(ble_log_cmd_cb_t cb);

/* Send one already-framed UTF-8 text message or binary chunk.
 * This call is serialized internally so different modules cannot interleave bytes.
 */
int ble_log_send_as(const uint8_t *data, size_t len);

/* True when a BLE central is connected and notifications are enabled. */
bool ble_log_is_ready(void);

#ifdef __cplusplus
}
#endif
```

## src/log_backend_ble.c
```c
#include <zephyr/kernel.h>
#include <zephyr/logging/log_backend.h>
#include <zephyr/logging/log_output.h>
#include <zephyr/logging/log_msg.h>
#include <zephyr/logging/log_ctrl.h>
#include <string.h>

#include "ble_log_service.h"

/* IMPORTANT: Do NOT use LOG_INF/LOG_ERR inside a log backend */

typedef struct {
    uint8_t *buf;
    size_t cap;
    size_t len;
} line_accum_t;

static line_accum_t *g_active_accum;

static int output_accum_func(uint8_t *data, size_t length, void *ctx)
{
    ARG_UNUSED(ctx);

    line_accum_t *acc = g_active_accum;
    if (!acc || !acc->buf || acc->cap == 0U) {
        return 0;
    }

    size_t room = (acc->cap > acc->len) ? (acc->cap - acc->len) : 0U;
    if (room == 0U) {
        return 0;
    }

    size_t n = (length < room) ? length : room;
    memcpy(acc->buf + acc->len, data, n);
    acc->len += n;
    return (int)length;
}

static uint8_t fmt_buf[384];
LOG_OUTPUT_DEFINE(ble_log_output, output_accum_func, fmt_buf, sizeof(fmt_buf));

static void backend_process(const struct log_backend *const backend,
                            union log_msg_generic *msg)
{
    ARG_UNUSED(backend);

    struct log_msg *m = (struct log_msg *)&msg->log;

    line_accum_t acc = {
        .buf = fmt_buf,
        .cap = sizeof(fmt_buf) - 2U,
        .len = 0U,
    };

    g_active_accum = &acc;
    log_output_msg_process(&ble_log_output, m, 0U);
    g_active_accum = NULL;

    if (acc.len + 2U <= sizeof(fmt_buf)) {
        fmt_buf[acc.len++] = '\r';
        fmt_buf[acc.len++] = '\n';
    }

    (void)ble_log_send_as(fmt_buf, acc.len);
}

static void backend_dropped(const struct log_backend *const backend, uint32_t cnt)
{
    ARG_UNUSED(backend);

    char s[64];
    int n = snprintk(s, sizeof(s), "[DROPPED=%u]\r\n", (unsigned)cnt);
    if (n > 0) {
        (void)ble_log_send_as((const uint8_t *)s, (size_t)n);
    }
}

static void backend_panic(const struct log_backend *const backend)
{
    ARG_UNUSED(backend);
}

static const struct log_backend_api backend_api = {
    .process = backend_process,
    .dropped = backend_dropped,
    .panic   = backend_panic,
};

LOG_BACKEND_DEFINE(ble_backend, backend_api, true);
```

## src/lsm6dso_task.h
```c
#pragma once

#include <stdbool.h>

void lsm6dso_task_start(void);
bool lsm6dso_task_has_data(void);
```
